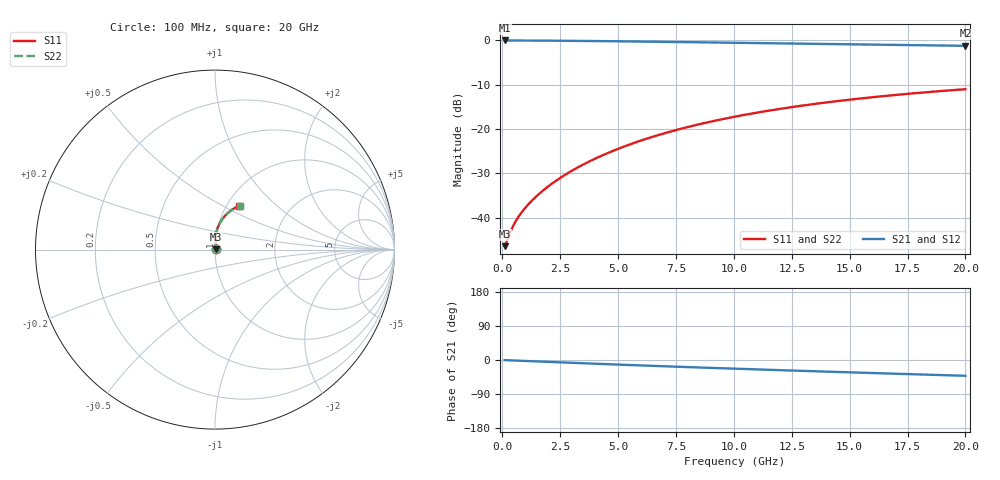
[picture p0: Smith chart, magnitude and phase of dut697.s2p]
! Touchstone file exported from HFSS 2024.1.0
!  File:  C:/UserFiles/LocalFiles/RDL_TSV_Batchsim/temp_RDL_bottom_697_1779787275.aedt
!  Generated:  05:23:45 PM May 26, 2026
!  Design:  RDL_bottom
!  Project:  temp_RDL_bottom_697_1779787275
!  Setup:  Setup1
!  Solution:  Sweep
! Variables:
!  dtsv = 10.80580581um
!  hbump = 3um
!  htsv = 91.05um
!  ldown = 656.28um
!  lrdl = 100um
!  p = 40
!  p1 = 41.56um
!  rhole = 1um
!  t = 450um
!  tdown = 2.09um
!  trdl = 3.915915916um
!  wdown = 26.75um
!  wrdl = 20um
# GHz S MA R 50.000000
! Terminal data exported
! Port[1] = RDL1_T1
! Port[2] = RDL1_T2
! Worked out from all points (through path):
!   200 points, 100 MHz to 20 GHz, reference 50 ohm
!   highest |S21| = -0.04 dB at 100 MHz (marker M1); lowest = -1.3 dB at 20 GHz (marker M2)
!   group delay of S21, straight-line fit = 5.73 ps
!   lowest |S11| = -46.5 dB at 100 MHz (marker M3), VSWR 1.01, Z = 50.5 + j0.144 ohm
!   |S11| at or under -10 dB: start of sweep to end of sweep
!   |S22| runs from -46.5 to -11.1 dB; largest |S21 - S12| = 3.1e-15
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0.1  0.00475 17.4  0.9955 -0.3  0.9955 -0.3  0.00475 17.4
! Gamma 0 0 0 0
! Port Impedance 50 0 50 0
0.4  0.007368 45.6  0.9947 -1.1  0.9947 -1.1  0.007368 45.6
0.5  0.008343 49.8  0.9943 -1.3  0.9943 -1.3  0.008343 49.8
0.6  0.009292 53.2  0.994 -1.6  0.994 -1.6  0.009293 53.2
0.7  0.01022 56.0  0.9937 -1.8  0.9937 -1.8  0.01022 55.9
0.9  0.01204 60.6  0.9931 -2.3  0.9931 -2.3  0.01204 60.6
1.2  0.01477 66.0  0.9923 -3.1  0.9923 -3.1  0.01478 66.0
1.7  0.01957 72.7  0.9908 -4.3  0.9908 -4.3  0.01957 72.6
2.2  0.02471 77.3  0.989 -5.5  0.989 -5.5  0.02471 77.2
2.8  0.03135 81.0  0.9865 -7.0  0.9865 -7.0  0.03134 81.0
3.5  0.03969 83.9  0.983 -8.6  0.983 -8.6  0.03968 83.8
4.2  0.04864 85.6  0.9791 -10.3  0.9791 -10.3  0.04862 85.5
5  0.05955 86.5  0.974 -12.1  0.974 -12.1  0.05951 86.4
5.9  0.07253 86.6  0.9679 -14.2  0.9679 -14.2  0.07247 86.6
6.8  0.08611 86.1  0.9615 -16.1  0.9615 -16.1  0.08603 86.0
8.4  0.1112 84.2  0.9496 -19.6  0.9496 -19.6  0.1111 84.1
10.1  0.1383 81.2  0.9368 -23.1  0.9368 -23.1  0.1381 81.1
11.7  0.1637 78.0  0.9249 -26.3  0.9249 -26.3  0.1634 77.9
13.4  0.1899 74.5  0.9123 -29.6  0.9123 -29.6  0.1896 74.4
15  0.2137 71.1  0.9007 -32.6  0.9007 -32.6  0.2133 71.0
16.7  0.2377 67.5  0.8887 -35.7  0.8887 -35.7  0.2373 67.4
20  0.2805 60.9  0.866 -41.7  0.866 -41.7  0.28 60.8
